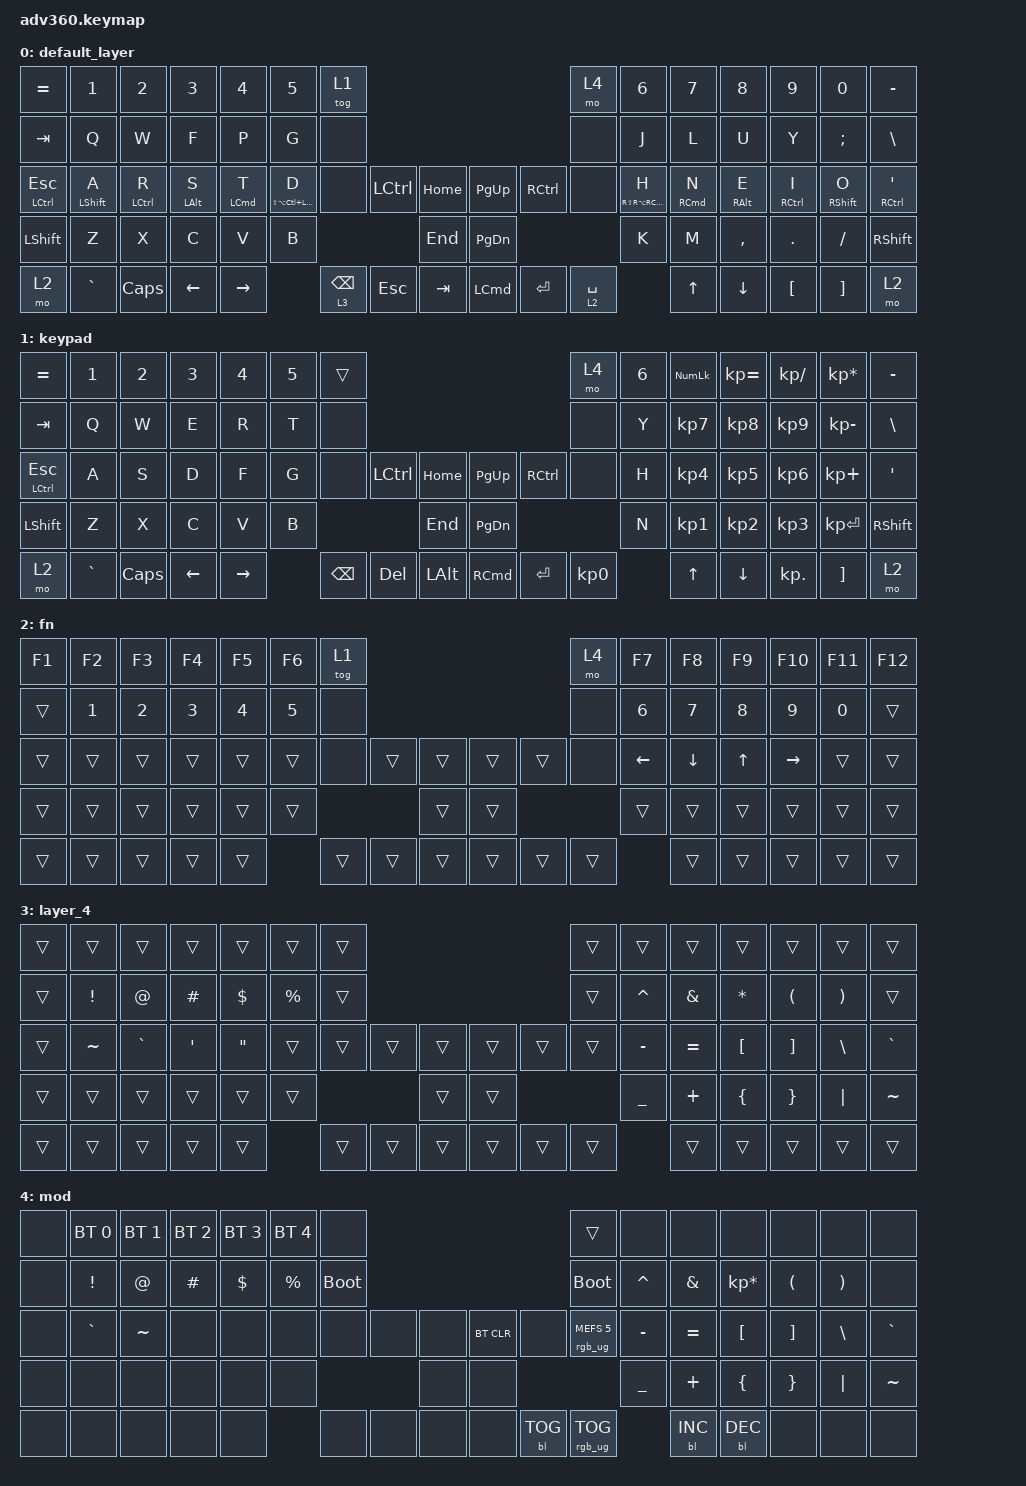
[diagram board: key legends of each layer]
#include <behaviors.dtsi>
#include <dt-bindings/zmk/backlight.h>
#include <dt-bindings/zmk/bt.h>
#include <dt-bindings/zmk/keys.h>
#include <dt-bindings/zmk/rgb.h>

/ {
    behaviors {
        #include "macros.dtsi"

        hm: homerow_mods {
            compatible = "zmk,behavior-hold-tap";
            label = "HOMEROW_MODS";
            #binding-cells = <2>;
            tapping-term-ms = <200>;
            quick_tap_ms = <175>;
            flavor = "tap-preferred";
            bindings = <&kp>, <&kp>;
        };
    };

    keymap {
        compatible = "zmk,keymap";

        default_layer {
            bindings = <
&kp EQUAL             &kp N1            &kp N2              &kp N3          &kp N4              &kp N5                      &tog 1                                                                 &mo 4        &kp N6                       &kp N7               &kp N8           &kp N9               &kp N0             &kp MINUS
&kp TAB               &kp Q             &kp W               &kp F           &kp P               &kp G                       &none                                                                  &none        &kp J                        &kp L                &kp U            &kp Y                &kp SEMICOLON      &kp BSLH
&mt LEFT_CONTROL ESC  &hm LEFT_SHIFT A  &hm LEFT_CONTROL R  &hm LEFT_ALT S  &hm LEFT_COMMAND T  &hm LS(LA(LC(LEFT_GUI))) D  &none            &kp LCTRL  &kp HOME      &kp PG_UP         &kp RCTRL  &none        &hm RS(RA(RC(RIGHT_GUI))) H  &hm RIGHT_COMMAND N  &hm RIGHT_ALT E  &hm RIGHT_CONTROL I  &hm RIGHT_SHIFT O  &mt RIGHT_CONTROL SQT
&kp LSHFT             &kp Z             &kp X               &kp C           &kp V               &kp B                                                   &kp END       &kp PAGE_DOWN                             &kp K                        &kp M                &kp COMMA        &kp DOT              &kp FSLH           &kp RSHFT
&mo 2                 &kp GRAVE         &kp CAPS            &kp LEFT        &kp RIGHT                                       &lt 3 BACKSPACE  &kp ESC    &kp TAB       &kp LEFT_COMMAND  &kp ENTER  &lt 2 SPACE                               &kp UP               &kp DOWN         &kp LBKT             &kp RBKT           &mo 2
            >;
        };

        keypad {
            bindings = <
&kp EQUAL             &kp N1     &kp N2    &kp N3    &kp N4     &kp N5  &trans                                                               &mo 4      &kp N6  &kp KP_NUM  &kp KP_EQUAL  &kp KP_DIVIDE  &kp KP_MULTIPLY  &kp MINUS
&kp TAB               &kp Q      &kp W     &kp E     &kp R      &kp T   &none                                                                &none      &kp Y   &kp KP_N7   &kp KP_N8     &kp KP_N9      &kp KP_MINUS     &kp BSLH
&mt LEFT_CONTROL ESC  &kp A      &kp S     &kp D     &kp F      &kp G   &none     &kp LCTRL  &kp HOME          &kp PG_UP          &kp RCTRL  &none      &kp H   &kp KP_N4   &kp KP_N5     &kp KP_N6      &kp KP_PLUS      &kp SQT
&kp LSHFT             &kp Z      &kp X     &kp C     &kp V      &kp B                        &kp END           &kp PAGE_DOWN                            &kp N   &kp KP_N1   &kp KP_N2     &kp KP_N3      &kp KP_ENTER     &kp RSHFT
&mo 2                 &kp GRAVE  &kp CAPS  &kp LEFT  &kp RIGHT          &kp BSPC  &kp DEL    &kp LEFT_ALT      &kp RIGHT_COMMAND  &kp ENTER  &kp KP_N0          &kp UP      &kp DOWN      &kp KP_DOT     &kp RBKT         &mo 2
            >;
        };

        fn {
            bindings = <
&kp F1  &kp F2        &kp F3        &kp F4        &kp F5        &kp F6        &tog 1                                      &mo 4   &kp F7          &kp F8          &kp F9        &kp F10          &kp F11       &kp F12
&trans  &kp NUMBER_1  &kp NUMBER_2  &kp NUMBER_3  &kp NUMBER_4  &kp NUMBER_5  &none                                       &none   &kp NUMBER_6    &kp NUMBER_7    &kp N8        &kp NUMBER_9     &kp NUMBER_0  &trans
&trans  &trans        &trans        &trans        &trans        &trans        &none   &trans  &trans      &trans  &trans  &none   &kp LEFT_ARROW  &kp DOWN_ARROW  &kp UP_ARROW  &kp RIGHT_ARROW  &trans        &trans
&trans  &trans        &trans        &trans        &trans        &trans                        &trans      &trans                  &trans          &trans          &trans        &trans           &trans        &trans
&trans  &trans        &trans        &trans        &trans                      &trans  &trans  &trans      &trans  &trans  &trans                  &trans          &trans        &trans           &trans        &trans
            >;
        };

        layer_4 {
            bindings = <
&trans  &trans           &trans     &trans            &trans             &trans       &trans                                      &trans  &trans          &trans         &trans            &trans                &trans         &trans
&trans  &kp EXCLAMATION  &kp AT     &kp HASH          &kp DOLLAR         &kp PERCENT  &trans                                      &trans  &kp CARET       &kp AMPERSAND  &kp ASTERISK      &kp LEFT_PARENTHESIS  &kp RPAR       &trans
&trans  &kp TILDE        &kp GRAVE  &kp SINGLE_QUOTE  &kp DOUBLE_QUOTES  &trans       &trans  &trans  &trans      &trans  &trans  &trans  &kp MINUS       &kp EQUAL      &kp LEFT_BRACKET  &kp RIGHT_BRACKET     &kp BACKSLASH  &kp GRAVE
&trans  &trans           &trans     &trans            &trans             &trans                       &trans      &trans                  &kp UNDERSCORE  &kp PLUS       &kp LEFT_BRACE    &kp RIGHT_BRACE       &kp PIPE       &kp TILDE
&trans  &trans           &trans     &trans            &trans                          &trans  &trans  &trans      &trans  &trans  &trans                  &trans         &trans            &trans                &trans         &trans
            >;
        };

        mod {
            bindings = <
&none  &bt BT_SEL 0  &bt BT_SEL 1  &bt BT_SEL 2  &bt BT_SEL 3  &bt BT_SEL 4  &none                                                  &trans                  &none           &none          &none             &none                 &none                  &none
&none  &kp EXCL      &kp AT_SIGN   &kp HASH      &kp DOLLAR    &kp PERCENT   &bootloader                                            &bootloader             &kp CARET       &kp AMPERSAND  &kp KP_MULTIPLY   &kp LEFT_PARENTHESIS  &kp RIGHT_PARENTHESIS  &none
&none  &kp GRAVE     &kp TILDE     &none         &none         &none         &none        &none  &none      &bt BT_CLR  &none       &rgb_ug RGB_MEFS_CMD 5  &kp MINUS       &kp EQUAL      &kp LEFT_BRACKET  &kp RIGHT_BRACKET     &kp BSLH               &kp GRAVE
&none  &none         &none         &none         &none         &none                             &none      &none                                           &kp UNDERSCORE  &kp PLUS       &kp LEFT_BRACE    &kp RIGHT_BRACE       &kp PIPE               &kp TILDE
&none  &none         &none         &none         &none                       &none        &none  &none      &none       &bl BL_TOG  &rgb_ug RGB_TOG                         &bl BL_INC     &bl BL_DEC        &none                 &none                  &none
            >;
        };
    };
};
